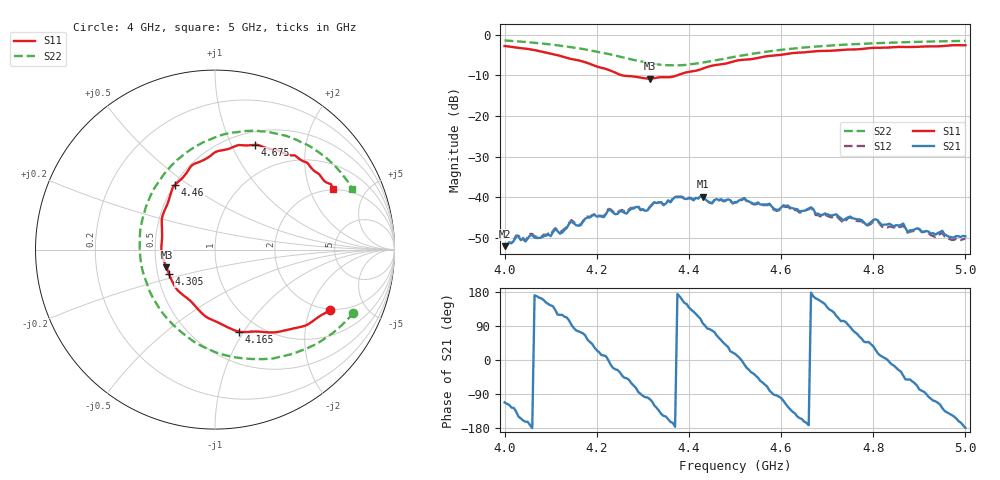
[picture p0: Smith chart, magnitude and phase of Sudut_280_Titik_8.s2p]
# Hz S RI R 50
! CMT, C1220, 16058040, 17.2.0/1
! Date: 15/08/2018 11:44:19
! Data: Format (Calibration Info)
! Freq  S11: Re/Im (F2)  S21: Re/Im (F2)  S12: Re/Im (F2)  S22: Re/Im (F2)
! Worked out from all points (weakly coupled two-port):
!   201 points, 4 GHz to 5 GHz, reference 50 ohm
!   highest |S21| = -39.81 dB at 4.43 GHz (marker M1); lowest = -52.0 dB at 4 GHz (marker M2)
!   lowest |S11| = -10.8 dB at 4.315 GHz (marker M3), VSWR 1.81, Z = 28.2 - j6.06 ohm
!   |S11| at or under -10 dB: 4.254 GHz to 4.375 GHz (120.6 MHz wide, 2.79 % of centre)
!   |S22| runs from -7.6 to -1.4 dB; largest |S21 - S12| = 0.00037
!   S11 on the Smith chart (normalised r, x): 4 GHz: 1.95, -2.77; 4.165 GHz: 0.80, -0.95; 4.305 GHz: 0.57, -0.17; 4.46 GHz: 0.50, +0.44; 4.675 GHz: 0.65, +1.23; 5 GHz: 1.95, +2.92
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4e9  0.6399 -0.3377  -0.000939 -0.00233  -0.00089 -0.00244  0.771 -0.3514
4.025e9  0.586 -0.3692  -0.00239 -0.00229  -0.00236 -0.00244  0.7231 -0.4047
4.045e9  0.5354 -0.4061  -0.00274 -0.000843  -0.00276 -0.000976  0.6774 -0.4469
4.055e9  0.5085 -0.4211  -0.00335 -0.000508  -0.00348 -0.000603  0.6535 -0.4669
4.1e9  0.3637 -0.4565  -0.0027 0.00195  -0.00287 0.00195  0.5249 -0.5444
4.11e9  0.3296 -0.4613  -0.00273 0.00304  -0.00286 0.00305  0.4906 -0.5587
4.12e9  0.2969 -0.4614  -0.00174 0.00312  -0.00195 0.00322  0.4566 -0.5725
4.145e9  0.2064 -0.4567  -0.000265 0.00503  -0.000392 0.00523  0.3634 -0.5968
4.165e9  0.1313 -0.4566  0.00129 0.00433  0.00124 0.00446  0.285 -0.6093
4.17e9  0.1151 -0.452  0.00167 0.00472  0.00164 0.00482  0.2642 -0.6102
4.225e9  -0.0626 -0.3644  0.007 -3.12e-05  0.00719 0.000135  0.021 -0.5786
4.305e9  -0.2552 -0.1373  -0.000981 -0.00675  -0.00112 -0.0068  -0.2943 -0.3501
4.315e9  -0.2709 -0.0985  -0.00172 -0.00732  -0.00184 -0.00742  -0.3229 -0.307
4.335e9  -0.2966 -0.0322  -0.00601 -0.00626  -0.00608 -0.0062  -0.3704 -0.2151
4.43e9  -0.2545 0.2855  -0.00124 0.0101  -0.000971 0.0102  -0.3839 0.2407
4.46e9  -0.224 0.3597  0.00399 0.00864  0.00419 0.0084  -0.3264 0.3594
4.5e9  -0.1422 0.4521  0.00839 0.00246  0.00825 0.0024  -0.2256 0.485
4.52e9  -0.1134 0.4788  0.00963 -0.00193  0.0095 -0.00202  -0.1693 0.5333
4.67e9  0.2135 0.5823  -0.00699 0.00149  -0.00671 0.00154  0.2597 0.6585
4.675e9  0.2219 0.5834  -0.006 0.00187  -0.00576 0.00187  0.272 0.6584
4.835e9  0.4864 0.4948  0.00471 -0.000436  0.00436 -0.000334  0.5853 0.5371
5e9  0.6571 0.3391  -0.00331 -5.04e-05  -0.00309 -0.000156  0.7661 0.3379
